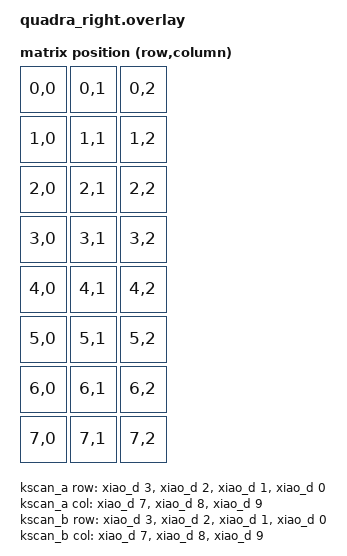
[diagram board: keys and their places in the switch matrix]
#include <dt-bindings/zmk/matrix_transform.h>
#include <dt-bindings/pinctrl/nrf-pinctrl.h>

/ {
    chosen {
        zmk,kscan = &kscan0;
        zmk,matrix-transform = &default_transform;
    };

    default_transform: keymap_transform_0 {
        compatible = "zmk,matrix-transform";
        columns = <3>;  // COL0, COL1, COL2 の3列
        rows = <8>;     /* kscan_a(0~3) と kscan_b(4~7) で計8行 */
        map = <
            /* 前半12キー (kscan_a側) */
            RC(0,0) RC(0,1) RC(0,2)
            RC(1,0) RC(1,1) RC(1,2)
            RC(2,0) RC(2,1) RC(2,2)
            RC(3,0) RC(3,1) RC(3,2)

            /* 後半12キー (kscan_b側) */
            RC(4,0) RC(4,1) RC(4,2)
            RC(5,0) RC(5,1) RC(5,2)
            RC(6,0) RC(6,1) RC(6,2)
            RC(7,0) RC(7,1) RC(7,2)
        >;
    };
/* メイン制御：2つのスキャンを綺麗に上下に並べる */
    kscan0: kscan0 {
        compatible = "zmk,kscan-composite";
        rows = <8>;     /* kscan_aで4行、kscan_bで4行、計8行にする */
        columns = <3>;  /* 列は常に3列 */

        matrix_a {
            kscan = <&kscan_a>;
        };
        matrix_b {
            kscan = <&kscan_b>;
            row-offset = <4>; /* kscan_b の結果を 4〜7行目に格納 */
        };
    };

    /* 順方向スキャン（上側ボタン群） */
    kscan_a: kscan_a {
        compatible = "zmk,kscan-gpio-matrix";
        diode-direction = "row2col";
        wakeup-source;
        row-gpios
            = <&xiao_d 3 (GPIO_ACTIVE_LOW | GPIO_PULL_UP)> /* ROW0 */
            , <&xiao_d 2 (GPIO_ACTIVE_LOW | GPIO_PULL_UP)> /* ROW1 */
            , <&xiao_d 1 (GPIO_ACTIVE_LOW | GPIO_PULL_UP)> /* ROW2 */
            , <&xiao_d 0 (GPIO_ACTIVE_LOW | GPIO_PULL_UP)> /* ROW3 */
            ;
        col-gpios
            = <&xiao_d 7 (GPIO_ACTIVE_LOW | GPIO_PULL_UP)> /* COL0 */
            , <&xiao_d 8 (GPIO_ACTIVE_LOW | GPIO_PULL_UP)> /* COL1 */
            , <&xiao_d 9 (GPIO_ACTIVE_LOW | GPIO_PULL_UP)> /* COL2 */
            ;
    };

    /* 逆方向スキャン（下側ボタン群） */
    /* ★ row と col のピンの並び順（構造）を kscan_a と完全に一致させます */
    kscan_b: kscan_b {
        compatible = "zmk,kscan-gpio-matrix";
        diode-direction = "col2row"; /* ← ここで電気の流れを逆向きと定義 */
        wakeup-source;
        row-gpios
            = <&xiao_d 3 (GPIO_ACTIVE_LOW | GPIO_PULL_UP)> /* ROW0 */
            , <&xiao_d 2 (GPIO_ACTIVE_LOW | GPIO_PULL_UP)> /* ROW1 */
            , <&xiao_d 1 (GPIO_ACTIVE_LOW | GPIO_PULL_UP)> /* ROW2 */
            , <&xiao_d 0 (GPIO_ACTIVE_LOW | GPIO_PULL_UP)> /* ROW3 */
            ;
        col-gpios
            = <&xiao_d 7 (GPIO_ACTIVE_LOW | GPIO_PULL_UP)> /* COL0 */
            , <&xiao_d 8 (GPIO_ACTIVE_LOW | GPIO_PULL_UP)> /* COL1 */
            , <&xiao_d 9 (GPIO_ACTIVE_LOW | GPIO_PULL_UP)> /* COL2 */
            ;
    };
};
